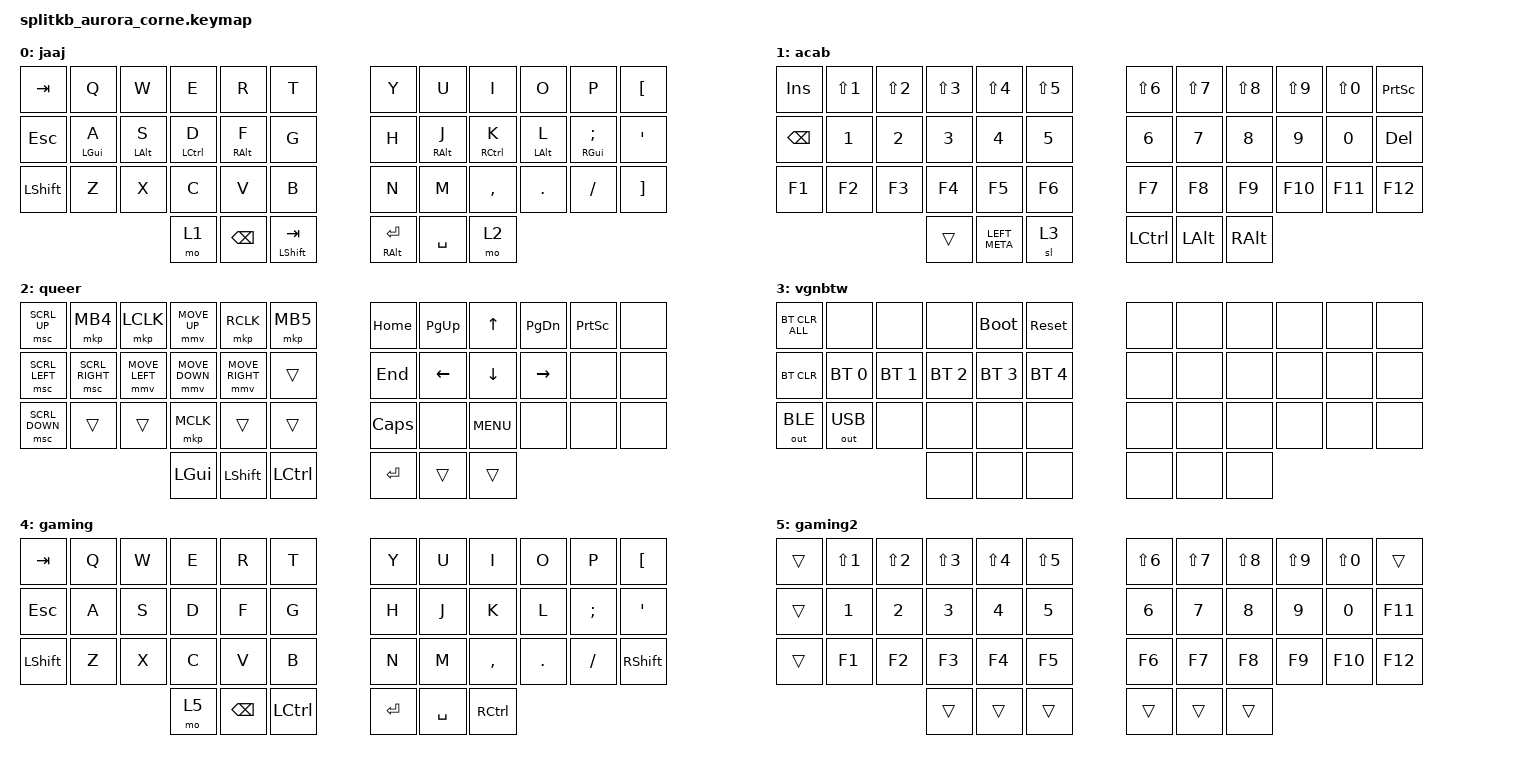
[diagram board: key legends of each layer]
/*
 * Copyright (c) 2020 The ZMK Contributors
 *
 * SPDX-License-Identifier: MIT
 */

#include <dt-bindings/zmk/mouse.h>
#include <behaviors.dtsi>
#include <dt-bindings/zmk/bt.h>
#include <dt-bindings/zmk/keys.h>
#include <dt-bindings/zmk/outputs.h>
#include <dt-bindings/zmk/pointing.h>
#include <dt-bindings/zmk/pointing.h>
#include <dt-bindings/zmk/pointing.h>

/ {
    combos {
        compatible = "zmk,combos";

        backslash {
            bindings = <&kp BACKSLASH>;
            key-positions = <10 9>;
            layers = <0>;
        };

        del {
            bindings = <&kp DELETE>;
            key-positions = <37 17>;
            layers = <0>;
        };

        menu {
            bindings = <&kp K_MENU>;
            key-positions = <25 26 28 27>;
        };

        repeat {
            bindings = <&key_repeat>;
            key-positions = <31 32 33 34>;
        };

        gaming_layer {
            bindings = <&to 4>;
            key-positions = <11 23 35>;
            layers = <0>;
        };

        exit_gaming {
            bindings = <&to 0>;
            key-positions = <11 23 35>;
            layers = <4>;
        };
    };

    behaviors {
        HRM: HRM {
            compatible = "zmk,behavior-hold-tap";
            label = "HRM";
            bindings = <&kp>, <&kp>;

            #binding-cells = <2>;
            flavor = "tap-preferred";
            tapping-term-ms = <200>;
        };
    };

    keymap {
        compatible = "zmk,keymap";

        default_layer {
            // -----------------------------------------------------------------------------------------
            // |  TAB |  Q  |  W  |  E  |  R  |  T  |   |  Y  |  U   |  I  |  O  |  P  | BSPC |
            // | CTRL |  A  |  S  |  D  |  F  |  G  |   |  H  |  J   |  K  |  L  |  ;  |  '   |
            // | SHFT |  Z  |  X  |  C  |  V  |  B  |   |  N  |  M   |  ,  |  .  |  /  | ESC  |
            //                    | GUI | LWR | SPC |   | ENT | RSE  | ALT |

            bindings = <
&kp TAB     &kp Q            &kp W            &kp E         &kp R             &kp T                 &kp Y                &kp U             &kp I                 &kp O            &kp P                &kp LBKT
&kp ESCAPE  &HRM LEFT_GUI A  &HRM LEFT_ALT S  &HRM LCTRL D  &HRM RIGHT_ALT F  &kp G                 &kp H                &HRM RIGHT_ALT J  &HRM RIGHT_CONTROL K  &HRM LEFT_ALT L  &HRM RIGHT_GUI SEMI  &kp SQT
&kp LSHFT   &kp Z            &kp X            &kp C         &kp V             &kp B                 &kp N                &kp M             &kp COMMA             &kp DOT          &kp FSLH             &kp RBKT
                                              &mo 1         &kp BACKSPACE     &mt LEFT_SHIFT TAB    &mt RIGHT_ALT ENTER  &kp SPACE         &mo 2
            >;

            label = "jaaj";
        };

        lower_layer {
            // -----------------------------------------------------------------------------------------
            // |  TAB |  1  |  2  |  3  |  4  |  5  |   |  6  |  7  |  8  |  9  |  0  | BSPC |
            // | BTCLR| BT1 | BT2 | BT3 | BT4 | BT5 |   | LFT | DWN |  UP | RGT |     |      |
            // | SHFT |     |     |     |     |     |   |     |     |     |     |     |      |
            //                    | GUI |     | SPC |   | ENT |     | ALT |

            bindings = <
&kp INS        &kp LS(N1)    &kp LS(N2)    &kp LS(N3)    &kp LS(N4)     &kp LS(N5)    &kp LS(N6)        &kp LS(N7)    &kp LS(N8)  &kp LS(N9)  &kp LS(N0)  &kp PRINTSCREEN
&kp BACKSPACE  &kp NUMBER_1  &kp NUMBER_2  &kp NUMBER_3  &kp NUMBER_4   &kp N5        &kp NUMBER_6      &kp N7        &kp N8      &kp N9      &kp N0      &kp DELETE
&kp F1         &kp F2        &kp F3        &kp F4        &kp F5         &kp F6        &kp F7            &kp F8        &kp F9      &kp F10     &kp F11     &kp F12
                                           &trans        &kp LEFT_META  &sl 3         &kp LEFT_CONTROL  &kp LEFT_ALT  &kp RALT
            >;

            label = "acab";
        };

        raise_layer {
            // -----------------------------------------------------------------------------------------
            // |  TAB |  !  |  @  |  #  |  $  |  %  |   |  ^  |  &  |  *  |  (  |  )  | BSPC |
            // | CTRL |     |     |     |     |     |   |  -  |  =  |  [  |  ]  |  \  |  `   |
            // | SHFT |     |     |     |     |     |   |  _  |  +  |  {  |  }  | "|" |  ~   |
            //                    | GUI |     | SPC |   | ENT |     | ALT |

            bindings = <
&msc SCRL_UP    &mkp MB4         &mkp LCLK       &mmv MOVE_UP    &mkp RCLK        &mkp MB5            &kp HOME  &kp PG_UP  &kp UP      &kp PG_DN  &kp PRINTSCREEN  &none
&msc SCRL_LEFT  &msc SCRL_RIGHT  &mmv MOVE_LEFT  &mmv MOVE_DOWN  &mmv MOVE_RIGHT  &trans              &kp END   &kp LEFT   &kp DOWN    &kp RIGHT  &none            &none
&msc SCRL_DOWN  &trans           &trans          &mkp MCLK       &trans           &trans              &kp CAPS  &none      &kp C_MENU  &none      &none            &none
                                                 &kp LGUI        &kp LEFT_SHIFT   &kp LEFT_CONTROL    &kp RET   &trans     &trans
            >;

            label = "queer";
        };

        ctrl {
            bindings = <
&bt BT_CLR_ALL  &none         &none         &none         &bootloader   &sys_reset      &none  &none  &none  &none  &none  &none
&bt BT_CLR      &bt BT_SEL 0  &bt BT_SEL 1  &bt BT_SEL 2  &bt BT_SEL 3  &bt BT_SEL 4    &none  &none  &none  &none  &none  &none
&out OUT_BLE    &out OUT_USB  &none         &none         &none         &none           &none  &none  &none  &none  &none  &none
                                            &none         &none         &none           &none  &none  &none
            >;

            label = "vgnbtw";
        };

        gaming {
            bindings = <
&kp TAB    &kp Q  &kp W  &kp E  &kp R     &kp T        &kp Y      &kp U      &kp I      &kp O    &kp P     &kp LBKT
&kp ESC    &kp A  &kp S  &kp D  &kp F     &kp G        &kp H      &kp J      &kp K      &kp L    &kp SEMI  &kp APOS
&kp LSHFT  &kp Z  &kp X  &kp C  &kp V     &kp B        &kp N      &kp M      &kp COMMA  &kp DOT  &kp FSLH  &kp RSHFT
                         &mo 5  &kp BSPC  &kp LCTRL    &kp ENTER  &kp SPACE  &kp RCTRL
            >;
        };

        gaming2 {
            bindings = <
&trans  &kp LS(N1)  &kp LS(N2)  &kp LS(N3)  &kp LS(N4)  &kp LS(N5)    &kp LS(N6)  &kp LS(N7)  &kp LS(N8)  &kp LS(N9)  &kp LS(N0)  &trans
&trans  &kp N1      &kp N2      &kp N3      &kp N4      &kp N5        &kp N6      &kp N7      &kp N8      &kp N9      &kp N0      &kp F11
&trans  &kp F1      &kp F2      &kp F3      &kp F4      &kp F5        &kp F6      &kp F7      &kp F8      &kp F9      &kp F10     &kp F12
                                &trans      &trans      &trans        &trans      &trans      &trans
            >;
        };
    };
};
